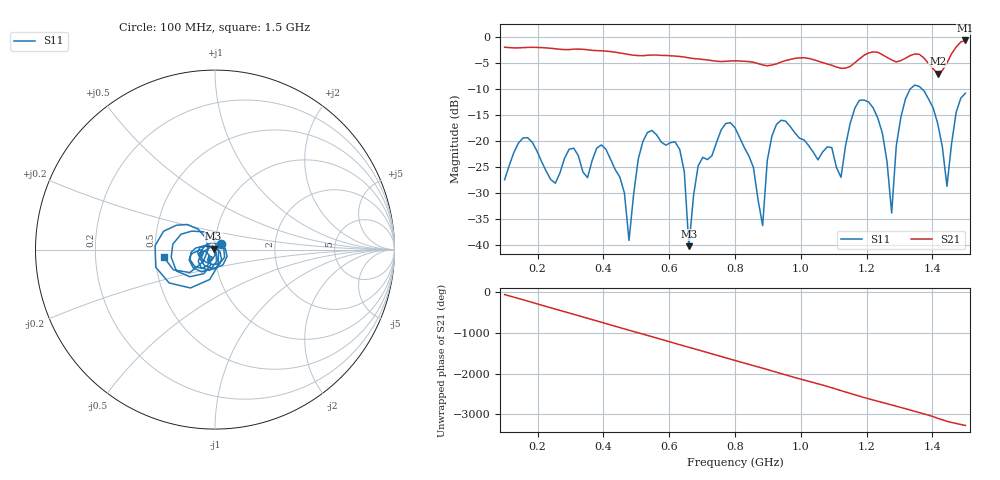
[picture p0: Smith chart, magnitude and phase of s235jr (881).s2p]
! NanoVNA-App
! Date: 2025-09-25 15:11:01
! Start: 100MHz Stop: 1,5GHz Points: 101
! S-Parameter data: F S11 S21 S12 S22
# Hz S RI R 50
!  Frequency  S11_Real  S11_Imag  S21_Real  S21_Imag  S12_Real  S12_Imag  S22_Real  S22_Imag
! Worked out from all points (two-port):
!   101 points, 100 MHz to 1.5 GHz, reference 50 ohm
!   highest |S21| = -0.66 dB at 1.5 GHz (marker M1); lowest = -7.0 dB at 1.416 GHz (marker M2)
!   |S21| within 3 dB of the highest: start of sweep to 616.9 MHz; 1.189 GHz to 1.255 GHz (65.8 MHz wide, 5.38 % of centre) (the widest 2 of 4)
!   lowest |S11| = -40.3 dB at 660 MHz (marker M3), VSWR 1.02, Z = 49.2 + j0.55 ohm
!   |S11| at or under -10 dB: start of sweep to 1.332 GHz; 1.368 GHz to end of sweep
!   S12 and S22 are empty: the file has one direction only
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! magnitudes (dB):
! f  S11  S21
! 100 MHz  -27.5  -2.0
! 156 MHz  -19.4  -2.0
! 338 MHz  -26.0  -2.4
! 408 MHz  -21.6  -2.7
! 478 MHz  -39.2  -3.4
! 520 MHz  -20.1  -3.6
! 576 MHz  -20.2  -3.5
! 632 MHz  -21.6  -3.7
! 660 MHz  -40.3  -4.0
! 688 MHz  -24.8  -4.2
! 800 MHz  -17.5  -4.6
! 884 MHz  -36.3  -5.4
! 926 MHz  -16.8  -5.2
! 1.038 GHz  -22.2  -4.3
! 1.122 GHz  -27.0  -6.0
! 1.206 GHz  -12.5  -3.1
! 1.276 GHz  -33.9  -4.4
! 1.29 GHz  -21.0  -4.8
! 1.332 GHz  -10.0  -3.6
! 1.416 GHz  -16.7  -7.0
! 1.444 GHz  -28.7  -5.0
! 1.5 GHz  -10.8  -0.7
